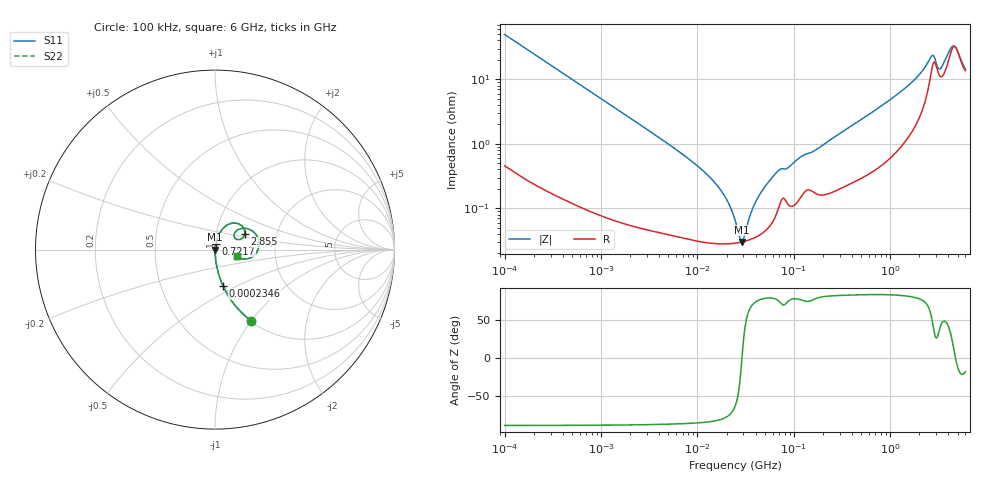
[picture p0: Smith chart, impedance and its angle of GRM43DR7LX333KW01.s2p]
!Murata Part Number: GRM43DR7LX333KW01
!These Parameters are Measured in Series Mode Connection
!Data Generated on Mar 30, 2021
!  o--ll--o
!Port1  Port2
!  o------o
!Operation Temp=25[degC], DC Bias Voltage=0[V]
!Freq. Start=100[kHz] Stop=6[GHz] 401[Steps]
# Hz S RI R 50
!Freq.(Hz) S11(Real) S11(Imag) S21(Real) S21(Imag) S12(Real) S12(Imag) S22(Real) S22(Imag)
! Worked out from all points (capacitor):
!   401 points, 100 kHz to 6 GHz, reference 50 ohm
!   read as one part in series: C = 32 nF near 105.7 kHz
!   lowest |Z| = 30 mohm at 28.89 MHz (marker M1)
!   series resonance near 28.94 MHz, so ESL is about 940 pH
!   S11 on the Smith chart (normalised r, x): 100 kHz: 1.01, -0.99; 234.6 kHz: 1.00, -0.42; 721.7 MHz: 1.01, +0.07; 2.855 GHz: 1.37, +0.24; 6 GHz: 1.27, -0.09
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100000  0.1996 -0.3952  0.8004 0.3952  0.8004 0.3952  0.1996 -0.3952
234589  0.045 -0.2024  0.955 0.2024  0.955 0.2024  0.045 -0.2024
631452  0.00724 -0.0786  0.9928 0.0786  0.9928 0.0786  0.00724 -0.0786
3987316  0.000575 -0.0125  0.9994 0.0125  0.9994 0.0125  0.000575 -0.0125
1.452491e7  0.000292 -0.00266  0.9997 0.00266  0.9997 0.00266  0.000292 -0.00266
2.020496e7  0.000282 -0.00131  0.9997 0.00131  0.9997 0.00131  0.000282 -0.00131
2.517799e7  0.000289 -0.000501  0.9997 0.000501  0.9997 0.000501  0.000289 -0.000501
2.889002e7  0.0003 -6.3e-06  0.9997 6.3e-06  0.9997 6.3e-06  0.0003 -6.3e-06
3.909733e7  0.00035 0.00111  0.9996 -0.00111  0.9996 -0.00111  0.00035 0.00111
5.590324e7  0.000531 0.00263  0.9995 -0.00263  0.9995 -0.00263  0.000531 0.00263
6.966265e7  0.00105 0.00374  0.999 -0.00374  0.999 -0.00374  0.00105 0.00374
1.546735e8  0.00188 0.00721  0.9981 -0.00721  0.9981 -0.00721  0.00188 0.00721
7.217007e8  0.0052 0.0339  0.9948 -0.0339  0.9948 -0.0339  0.0052 0.0339
9.76689e8  0.00796 0.0464  0.992 -0.0464  0.992 -0.0464  0.00796 0.0464
1.996807e9  0.037 0.1086  0.963 -0.1086  0.963 -0.1086  0.037 0.1086
2.628996e9  0.13 0.1447  0.87 -0.1447  0.87 -0.1447  0.13 0.1447
2.855131e9  0.1662 0.0859  0.8338 -0.0859  0.8338 -0.0859  0.1662 0.0859
3.276068e9  0.1065 0.0742  0.8935 -0.0742  0.8935 -0.0742  0.1065 0.0742
3.971646e9  0.174 0.1179  0.826 -0.1179  0.826 -0.1179  0.174 0.1179
4.557193e9  0.2464 0.0355  0.7536 -0.0355  0.7536 -0.0355  0.2464 0.0355
5.087202e9  0.1997 -0.0452  0.8003 0.0452  0.8003 0.0452  0.1997 -0.0452
6e9  0.1217 -0.0355  0.8783 0.0355  0.8783 0.0355  0.1217 -0.0355
